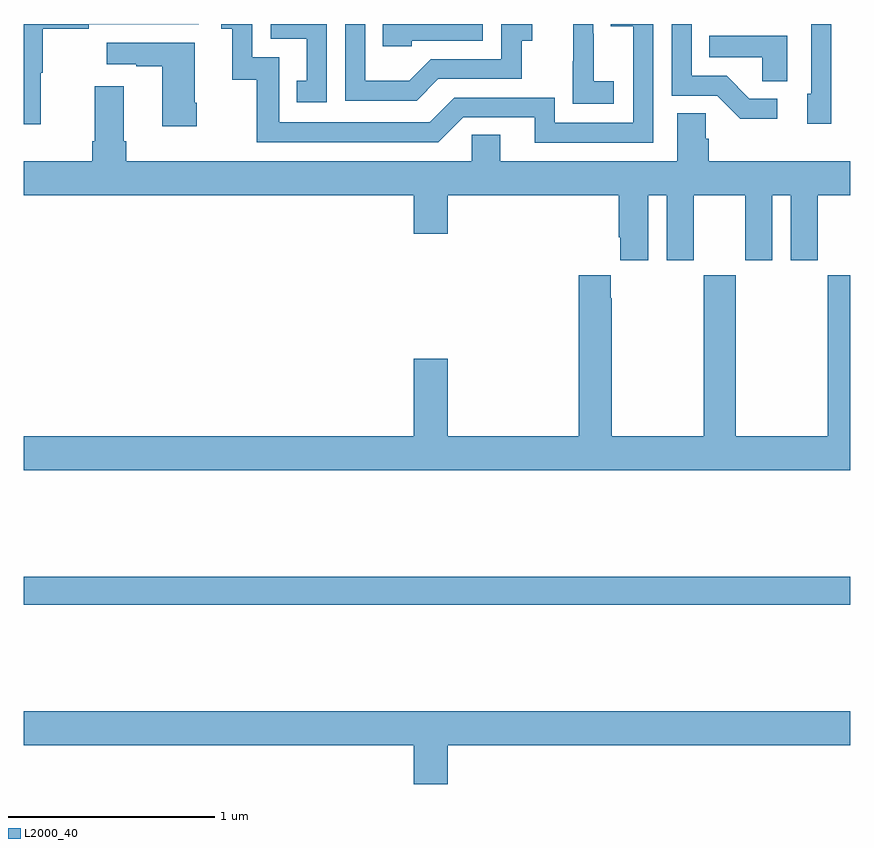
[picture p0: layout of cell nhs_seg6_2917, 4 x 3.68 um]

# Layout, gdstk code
import gdstk
lib = gdstk.Library(unit=1e-6, precision=1e-09)
def R(c, l, rs):  # rectangles x0, y0, x1, y1
    for r in rs: c.add(gdstk.rectangle(r[:2], r[2:], *l))
def P(c, l, *ps):  # polygons
    for p in ps: c.add(gdstk.Polygon(p, *l))
L2000_40 = (2000, 40)

nhs_seg6_2917 = lib.new_cell('nhs_seg6_2917')
R(nhs_seg6_2917, L2000_40, [(283,942.688,287,942.824)])
P(nhs_seg6_2917, L2000_40, [(286.648,945.138),(286.513,945.138),(286.402,945.249),(286.233,945.249),(286.233,945.5),(286.137,945.5),(286.137,945.153),(286.356,945.153),(286.469,945.041),(286.648,945.041)],
  [(286.908,945.5),(286.812,945.5),(286.812,945.162),(286.793,945.162),(286.793,945.018),(286.908,945.018)],
  [(286.047,945.5),(285.841,945.5),(285.841,945.49),(285.951,945.49),(285.951,945.021),(285.57,945.021),(285.57,945.144),(285.084,945.144),(284.964,945.024),(284.235,945.024),(284.235,945.339),(284.106,945.339),(284.106,945.5),(283.956,945.5),(283.956,945.477),(284.009,945.477),(284.009,945.231),(284.127,945.231),(284.127,944.928),(285.006,944.928),(285.126,945.048),(285.473,945.048),(285.473,944.925),(286.047,944.925)],
  [(284.466,945.5),(284.196,945.5),(284.196,945.429),(284.369,945.429),(284.369,945.225),(284.32,945.225),(284.32,945.12),(284.466,945.12)],
  [(285.007,945.234),(285.411,945.234),(285.411,945.419),(285.46,945.419),(285.46,945.5),(285.312,945.5),(285.312,945.33),(284.97,945.33),(284.866,945.226),(284.652,945.226),(284.652,945.5),(284.556,945.5),(284.556,945.129),(284.902,945.129)],
  [(283.082,945.264),(283.09,945.264),(283.09,945.478),(283.313,945.478),(283.313,945.498),(283.846,945.498),(283.846,945.5),(283,945.5),(283,945.015),(283.082,945.015)],
  [(285.856,945.223),(285.758,945.223),(285.758,945.452),(285.756,945.452),(285.756,945.5),(285.659,945.5),(285.659,945.319),(285.658,945.319),(285.658,945.113),(285.856,945.113)],
  [(284.877,945.42),(285.222,945.42),(285.222,945.5),(284.737,945.5),(284.737,945.393),(284.877,945.393)],
  [(286.696,945.442),(286.318,945.442),(286.318,945.338),(286.575,945.338),(286.575,945.223),(286.696,945.223)],
  [(283.836,945.118),(283.828,945.118),(283.828,945.409),(283.401,945.409),(283.401,945.305),(283.544,945.305),(283.544,945.295),(283.67,945.295),(283.67,945.006),(283.836,945.006)],
  [(285.307,944.963),(285.168,944.963),(285.168,944.836),(283.496,944.836),(283.496,944.932),(283.483,944.932),(283.483,945.199),(283.343,945.199),(283.343,944.932),(283.331,944.932),(283.331,944.836),(283,944.836),(283,944.672),(284.888,944.672),(284.888,944.484),(285.052,944.484),(285.052,944.672),(285.881,944.672),(285.881,944.467),(285.887,944.467),(285.887,944.355),(286.024,944.355),(286.024,944.672),(286.112,944.672),(286.112,944.355),(286.243,944.355),(286.243,944.672),(286.493,944.672),(286.493,944.355),(286.624,944.355),(286.624,944.672),(286.712,944.672),(286.712,944.355),(286.843,944.355),(286.843,944.672),(287,944.672),(287,944.836),(286.316,944.836),(286.316,944.945),(286.302,944.945),(286.302,945.068),(286.163,945.068),(286.163,944.836),(285.307,944.836)],
  [(287,944.284),(286.891,944.284),(286.891,943.504),(286.446,943.504),(286.446,944.284),(286.291,944.284),(286.291,943.504),(285.846,943.504),(285.846,944.171),(285.841,944.171),(285.841,944.284),(285.686,944.284),(285.686,943.504),(285.052,943.504),(285.052,943.879),(284.888,943.879),(284.888,943.504),(283,943.504),(283,943.34),(287,943.34)],
  [(285.052,942.008),(287,942.008),(287,942.172),(283,942.172),(283,942.008),(284.888,942.008),(284.888,941.82),(285.052,941.82)])

lib.write_gds('nhs_seg6_2917.gds')
